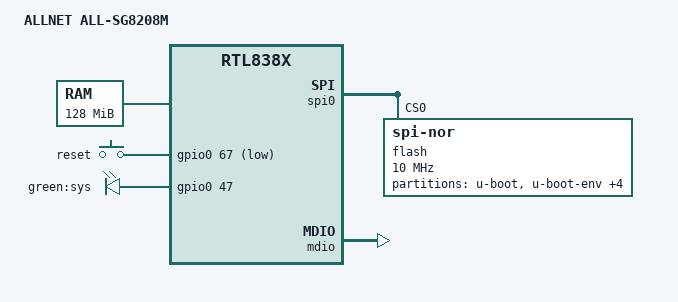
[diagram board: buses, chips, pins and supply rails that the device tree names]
// SPDX-License-Identifier: GPL-2.0-or-later

#include "rtl838x.dtsi"

#include <dt-bindings/input/input.h>
#include <dt-bindings/gpio/gpio.h>

/ {
	compatible = "allnet,all-sg8208m", "realtek,rtl838x-soc";
	model = "ALLNET ALL-SG8208M";

	aliases {
		led-boot = &led_sys;
		led-failsafe = &led_sys;
		led-running = &led_sys;
		led-upgrade = &led_sys;
	};

	chosen {
		bootargs = "console=ttyS0,115200";
	};

	memory@0 {
		device_type = "memory";
		reg = <0x0 0x8000000>;
	};

	keys {
		compatible = "gpio-keys-polled";
		poll-interval = <20>;

		reset {
			label = "reset";
			gpios = <&gpio0 67 GPIO_ACTIVE_LOW>;
			linux,code = <KEY_RESTART>;
		};
	};

	leds {
		compatible = "gpio-leds";

		led_sys: sys {
			label = "green:sys";
			gpios = <&gpio0 47 GPIO_ACTIVE_HIGH>;
		};
		// GPIO 25: power on/off all port leds
	};
};

&gpio0 {
	indirect-access-bus-id = <0>;
};

&spi0 {
	status = "okay";

	flash@0 {
		compatible = "jedec,spi-nor";
		reg = <0>;
		spi-max-frequency = <10000000>;

		partitions {
			compatible = "fixed-partitions";
			#address-cells = <1>;
			#size-cells = <1>;

			partition@0 {
				label = "u-boot";
				reg = <0x0 0x80000>;
				read-only;
			};

			partition@80000 {
				label = "u-boot-env";
				reg = <0x80000 0x10000>;
				read-only;
			};

			partition@90000 {
				label = "u-boot-env2";
				reg = <0x90000 0x10000>;
			};

			partition@a0000 {
				label = "jffs";
				reg = <0xa0000 0x100000>;
			};

			partition@1a0000 {
				label = "jffs2";
				reg = <0x1a0000 0x100000>;
			};

			partition@2a0000 {
				label = "firmware";
				reg = <0x2a0000 0xd60000>;
				compatible = "openwrt,uimage", "denx,uimage";
				openwrt,ih-magic = <0x00000006>;
			};
		};
	};
};

&ethernet0 {
	mdio: mdio-bus {
		compatible = "realtek,rtl838x-mdio";
		regmap = <&ethernet0>;
		#address-cells = <1>;
		#size-cells = <0>;

		INTERNAL_PHY(8)
		INTERNAL_PHY(9)
		INTERNAL_PHY(10)
		INTERNAL_PHY(11)
		INTERNAL_PHY(12)
		INTERNAL_PHY(13)
		INTERNAL_PHY(14)
		INTERNAL_PHY(15)
	};
};

&switch0 {
	ports {
		#address-cells = <1>;
		#size-cells = <0>;

		SWITCH_PORT(8, 1, internal)
		SWITCH_PORT(9, 2, internal)
		SWITCH_PORT(10, 3, internal)
		SWITCH_PORT(11, 4, internal)
		SWITCH_PORT(12, 5, internal)
		SWITCH_PORT(13, 6, internal)
		SWITCH_PORT(14, 7, internal)
		SWITCH_PORT(15, 8, internal)

		port@28 {
			ethernet = <&ethernet0>;
			reg = <28>;
			phy-mode = "internal";
			fixed-link {
				speed = <1000>;
				full-duplex;
			};
		};
	};
};
